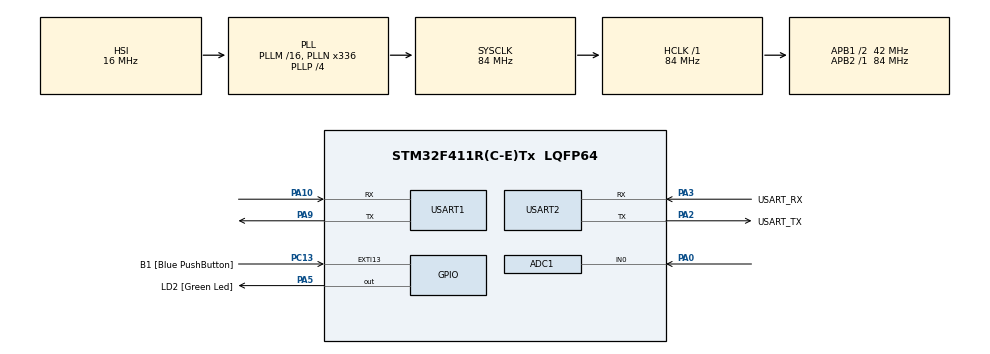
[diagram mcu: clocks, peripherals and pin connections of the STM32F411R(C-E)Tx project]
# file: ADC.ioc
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ADC1.Channel-0\#ChannelRegularConversion=ADC_CHANNEL_0
ADC1.ExternalTrigConv=ADC_EXTERNALTRIGCONV_T3_TRGO
ADC1.InjNumberOfConversion=0
ADC1.NbrOfConversion=1
ADC1.NbrOfConversionFlag=1
ADC1.Rank-0\#ChannelRegularConversion=1
ADC1.SamplingTime-0\#ChannelRegularConversion=ADC_SAMPLETIME_84CYCLES
ADC1.master=1
Mcu.Family=STM32F4
Mcu.Name=STM32F411R(C-E)Tx
Mcu.Package=LQFP64
NVIC.ADC_IRQn=true\:0\:0\:false\:false\:true\:true\:true\:true
NVIC.PriorityGroup=NVIC_PRIORITYGROUP_0
NVIC.USART1_IRQn=true\:0\:0\:false\:false\:true\:true\:true\:true
PA0-WKUP.Signal=ADCx_IN0
PA10.Mode=Asynchronous
PA10.Signal=USART1_RX
PA13.GPIO_Label=TMS
PA13.Mode=Serial_Wire
PA13.Signal=SYS_JTMS-SWDIO
PA14.GPIO_Label=TCK
PA14.Mode=Serial_Wire
PA14.Signal=SYS_JTCK-SWCLK
PA2.GPIO_Label=USART_TX
PA2.Mode=Asynchronous
PA2.Signal=USART2_TX
PA3.GPIO_Label=USART_RX
PA3.Mode=Asynchronous
PA3.Signal=USART2_RX
PA5.GPIO_Label=LD2 [Green Led]
PA5.Signal=GPIO_Output
PA9.Mode=Asynchronous
PA9.Signal=USART1_TX
PB3.GPIO_Label=SWO
PB3.Signal=SYS_JTDO-SWO
PC13-ANTI_TAMP.GPIO_Label=B1 [Blue PushButton]
PC13-ANTI_TAMP.GPIO_ModeDefaultEXTI=GPIO_MODE_IT_FALLING
PC13-ANTI_TAMP.Signal=GPXTI13
PC14-OSC32_IN.Mode=LSE-External-Oscillator
PC14-OSC32_IN.Signal=RCC_OSC32_IN
PC15-OSC32_OUT.Mode=LSE-External-Oscillator
PC15-OSC32_OUT.Signal=RCC_OSC32_OUT
PH0\ -\ OSC_IN.Mode=HSE-External-Clock-Source
PH0\ -\ OSC_IN.Signal=RCC_OSC_IN
PH1\ -\ OSC_OUT.Mode=HSE-External-Clock-Source
PH1\ -\ OSC_OUT.Signal=RCC_OSC_OUT
ProjectManager.HeapSize=0x200
ProjectManager.StackSize=0x400
ProjectManager.TargetToolchain=STM32CubeIDE
RCC.48MHZClocksFreq_Value=84000000
RCC.AHBFreq_Value=84000000
RCC.APB1CLKDivider=RCC_HCLK_DIV2
RCC.APB1Freq_Value=42000000
RCC.APB1TimFreq_Value=84000000
RCC.APB2Freq_Value=84000000
RCC.APB2TimFreq_Value=84000000
RCC.CortexFreq_Value=84000000
RCC.FLatency-AdvancedSettings=FLASH_LATENCY_2
RCC.HCLKFreq_Value=84000000
RCC.HSE_VALUE=8000000
RCC.HSI_VALUE=16000000
RCC.PLLN=336
RCC.PLLP=RCC_PLLP_DIV4
RCC.SYSCLKFreq_VALUE=84000000
RCC.SYSCLKSource=RCC_SYSCLKSOURCE_PLLCLK
RCC.VCOOutputFreq_Value=336000000
SH.ADCx_IN0.0=ADC1_IN0,IN0
TIM3.Period=10000-1
TIM3.Prescaler=8200-1
TIM3.TIM_MasterOutputTrigger=TIM_TRGO_UPDATE
USART1.VirtualMode=VM_ASYNC
USART2.VirtualMode=VM_ASYNC
VP_TIM3_VS_ClockSourceINT.Mode=Internal
board=NUCLEO-F411RE

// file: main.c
/* USER CODE BEGIN Header */
/**
  ******************************************************************************
  * @file           : main.c
  * @brief          : Main program body
  ******************************************************************************
  * @attention
  *
  * Copyright (c) 2023 STMicroelectronics.
  * All rights reserved.
  *
  * This software is licensed under terms that can be found in the LICENSE file
  * in the root directory of this software component.
  * If no LICENSE file comes with this software, it is provided AS-IS.
  *
  ******************************************************************************
  */
/* USER CODE END Header */
#include "main.h"

/* USER CODE BEGIN Includes */
#include <math.h>
#include <string.h>
/* USER CODE END Includes */

/* USER CODE BEGIN PM */
#define PHT_UP_R 10000.0F
#define PHT_10LX_R 50000.0F
#define PHT_GAMMA 0.8F
/* USER CODE END PM */

ADC_HandleTypeDef hadc1;

TIM_HandleTypeDef htim3;

UART_HandleTypeDef huart1;
UART_HandleTypeDef huart2;

void SystemClock_Config(void);
static void MX_GPIO_Init(void);
static void MX_USART2_UART_Init(void);
static void MX_ADC1_Init(void);
static void MX_TIM3_Init(void);
static void MX_USART1_UART_Init(void);

/* USER CODE BEGIN 0 */
uint32_t adc_raw;
uint32_t Pht_R;
float Pht_Div;
float Pht_Temp;
uint32_t Pht_Lux;
uint8_t arr[4];
uint8_t i = 0;
/* USER CODE END 0 */

int main(void)
{

  /* MCU Configuration--------------------------------------------------------*/

  /* Reset of all peripherals, Initializes the Flash interface and the Systick. */
  HAL_Init();

  /* Configure the system clock */
  SystemClock_Config();

  /* Initialize all configured peripherals */
  MX_GPIO_Init();
  MX_USART2_UART_Init();
  MX_ADC1_Init();
  MX_TIM3_Init();
  MX_USART1_UART_Init();
  /* USER CODE BEGIN 2 */
  HAL_ADC_Start_IT(&hadc1);
  HAL_TIM_Base_Start(&htim3);
  for (i = 0; i < 4; i++) {
	arr[i]=i;
}
  /* USER CODE END 2 */

  /* Infinite loop */
  /* USER CODE BEGIN WHILE */
  while (1)
  {
	  if(adc_raw>=1000){
		  HAL_GPIO_WritePin(LD2_GPIO_Port, LD2_Pin, GPIO_PIN_SET);
	  }
	  else{
		  HAL_GPIO_WritePin(LD2_GPIO_Port, LD2_Pin, GPIO_PIN_RESET);
	  	  }
	  //calc photoresistor resistance
	  Pht_R = ((PHT_UP_R)/(4095.0/adc_raw-1));
	  /* internim calcs */
	  Pht_Div = PHT_10LX_R/Pht_R;
	  Pht_Temp = ((0.42*log(Pht_Div))/(PHT_GAMMA)) + 1;
	  /* illuminance calc */
	  Pht_Lux = pow(10, Pht_Temp);

	  memcpy(arr, &Pht_Lux, sizeof(Pht_Lux));

	  //send to esp32
	  HAL_UART_Transmit(&huart1, (uint8_t*)arr,4,1000);
	  HAL_Delay(1000);
    /* USER CODE END WHILE */

  }
}

void SystemClock_Config(void)
{
  RCC_OscInitTypeDef RCC_OscInitStruct = {0};
  RCC_ClkInitTypeDef RCC_ClkInitStruct = {0};

  /** Configure the main internal regulator output voltage
  */
  __HAL_RCC_PWR_CLK_ENABLE();
  __HAL_PWR_VOLTAGESCALING_CONFIG(PWR_REGULATOR_VOLTAGE_SCALE1);

  /** Initializes the RCC Oscillators according to the specified parameters
  * in the RCC_OscInitTypeDef structure.
  */
  RCC_OscInitStruct.OscillatorType = RCC_OSCILLATORTYPE_HSI;
  RCC_OscInitStruct.HSIState = RCC_HSI_ON;
  RCC_OscInitStruct.HSICalibrationValue = RCC_HSICALIBRATION_DEFAULT;
  RCC_OscInitStruct.PLL.PLLState = RCC_PLL_ON;
  RCC_OscInitStruct.PLL.PLLSource = RCC_PLLSOURCE_HSI;
  RCC_OscInitStruct.PLL.PLLM = 16;
  RCC_OscInitStruct.PLL.PLLN = 336;
  RCC_OscInitStruct.PLL.PLLP = RCC_PLLP_DIV4;
  RCC_OscInitStruct.PLL.PLLQ = 4;
  if (HAL_RCC_OscConfig(&RCC_OscInitStruct) != HAL_OK)
  {
    Error_Handler();
  }

  /** Initializes the CPU, AHB and APB buses clocks
  */
  RCC_ClkInitStruct.ClockType = RCC_CLOCKTYPE_HCLK|RCC_CLOCKTYPE_SYSCLK
                              |RCC_CLOCKTYPE_PCLK1|RCC_CLOCKTYPE_PCLK2;
  RCC_ClkInitStruct.SYSCLKSource = RCC_SYSCLKSOURCE_PLLCLK;
  RCC_ClkInitStruct.AHBCLKDivider = RCC_SYSCLK_DIV1;
  RCC_ClkInitStruct.APB1CLKDivider = RCC_HCLK_DIV2;
  RCC_ClkInitStruct.APB2CLKDivider = RCC_HCLK_DIV1;

  if (HAL_RCC_ClockConfig(&RCC_ClkInitStruct, FLASH_LATENCY_2) != HAL_OK)
  {
    Error_Handler();
  }
}

static void MX_ADC1_Init(void)
{

  ADC_ChannelConfTypeDef sConfig = {0};

  /** Configure the global features of the ADC (Clock, Resolution, Data Alignment and number of conversion)
  */
  hadc1.Instance = ADC1;
  hadc1.Init.ClockPrescaler = ADC_CLOCK_SYNC_PCLK_DIV4;
  hadc1.Init.Resolution = ADC_RESOLUTION_12B;
  hadc1.Init.ScanConvMode = DISABLE;
  hadc1.Init.ContinuousConvMode = DISABLE;
  hadc1.Init.DiscontinuousConvMode = DISABLE;
  hadc1.Init.ExternalTrigConvEdge = ADC_EXTERNALTRIGCONVEDGE_RISING;
  hadc1.Init.ExternalTrigConv = ADC_EXTERNALTRIGCONV_T3_TRGO;
  hadc1.Init.DataAlign = ADC_DATAALIGN_RIGHT;
  hadc1.Init.NbrOfConversion = 1;
  hadc1.Init.DMAContinuousRequests = DISABLE;
  hadc1.Init.EOCSelection = ADC_EOC_SINGLE_CONV;
  if (HAL_ADC_Init(&hadc1) != HAL_OK)
  {
    Error_Handler();
  }

  /** Configure for the selected ADC regular channel its corresponding rank in the sequencer and its sample time.
  */
  sConfig.Channel = ADC_CHANNEL_0;
  sConfig.Rank = 1;
  sConfig.SamplingTime = ADC_SAMPLETIME_84CYCLES;
  if (HAL_ADC_ConfigChannel(&hadc1, &sConfig) != HAL_OK)
  {
    Error_Handler();
  }

}

static void MX_TIM3_Init(void)
{

  TIM_ClockConfigTypeDef sClockSourceConfig = {0};
  TIM_MasterConfigTypeDef sMasterConfig = {0};

  htim3.Instance = TIM3;
  htim3.Init.Prescaler = 8200-1;
  htim3.Init.CounterMode = TIM_COUNTERMODE_UP;
  htim3.Init.Period = 10000-1;
  htim3.Init.ClockDivision = TIM_CLOCKDIVISION_DIV1;
  htim3.Init.AutoReloadPreload = TIM_AUTORELOAD_PRELOAD_DISABLE;
  if (HAL_TIM_Base_Init(&htim3) != HAL_OK)
  {
    Error_Handler();
  }
  sClockSourceConfig.ClockSource = TIM_CLOCKSOURCE_INTERNAL;
  if (HAL_TIM_ConfigClockSource(&htim3, &sClockSourceConfig) != HAL_OK)
  {
    Error_Handler();
  }
  sMasterConfig.MasterOutputTrigger = TIM_TRGO_UPDATE;
  sMasterConfig.MasterSlaveMode = TIM_MASTERSLAVEMODE_DISABLE;
  if (HAL_TIMEx_MasterConfigSynchronization(&htim3, &sMasterConfig) != HAL_OK)
  {
    Error_Handler();
  }

}

static void MX_USART1_UART_Init(void)
{

  huart1.Instance = USART1;
  huart1.Init.BaudRate = 115200;
  huart1.Init.WordLength = UART_WORDLENGTH_8B;
  huart1.Init.StopBits = UART_STOPBITS_1;
  huart1.Init.Parity = UART_PARITY_NONE;
  huart1.Init.Mode = UART_MODE_TX_RX;
  huart1.Init.HwFlowCtl = UART_HWCONTROL_NONE;
  huart1.Init.OverSampling = UART_OVERSAMPLING_16;
  if (HAL_UART_Init(&huart1) != HAL_OK)
  {
    Error_Handler();
  }

}

static void MX_USART2_UART_Init(void)
{

  huart2.Instance = USART2;
  huart2.Init.BaudRate = 115200;
  huart2.Init.WordLength = UART_WORDLENGTH_8B;
  huart2.Init.StopBits = UART_STOPBITS_1;
  huart2.Init.Parity = UART_PARITY_NONE;
  huart2.Init.Mode = UART_MODE_TX_RX;
  huart2.Init.HwFlowCtl = UART_HWCONTROL_NONE;
  huart2.Init.OverSampling = UART_OVERSAMPLING_16;
  if (HAL_UART_Init(&huart2) != HAL_OK)
  {
    Error_Handler();
  }

}

static void MX_GPIO_Init(void)
{
  GPIO_InitTypeDef GPIO_InitStruct = {0};

  /* GPIO Ports Clock Enable */
  __HAL_RCC_GPIOC_CLK_ENABLE();
  __HAL_RCC_GPIOH_CLK_ENABLE();
  __HAL_RCC_GPIOA_CLK_ENABLE();
  __HAL_RCC_GPIOB_CLK_ENABLE();

  /*Configure GPIO pin Output Level */
  HAL_GPIO_WritePin(LD2_GPIO_Port, LD2_Pin, GPIO_PIN_RESET);

  /*Configure GPIO pin : B1_Pin */
  GPIO_InitStruct.Pin = B1_Pin;
  GPIO_InitStruct.Mode = GPIO_MODE_IT_FALLING;
  GPIO_InitStruct.Pull = GPIO_NOPULL;
  HAL_GPIO_Init(B1_GPIO_Port, &GPIO_InitStruct);

  /*Configure GPIO pin : LD2_Pin */
  GPIO_InitStruct.Pin = LD2_Pin;
  GPIO_InitStruct.Mode = GPIO_MODE_OUTPUT_PP;
  GPIO_InitStruct.Pull = GPIO_NOPULL;
  GPIO_InitStruct.Speed = GPIO_SPEED_FREQ_LOW;
  HAL_GPIO_Init(LD2_GPIO_Port, &GPIO_InitStruct);

}

/* USER CODE BEGIN 4 */
void HAL_ADC_ConvCpltCallback(ADC_HandleTypeDef* hadc)
{
  adc_raw=HAL_ADC_GetValue(&hadc1);
}
/*
void send_uint32(uint32_t v)
{
    uint8_t transmitBuffer[4];
    memcpy(transmitBuffer, &v, sizeof(v));
    HAL_UART_Transmit_IT(&huart1, transmitBuffer, sizeof(v));
}
*/
/* USER CODE END 4 */

void Error_Handler(void)
{
  __disable_irq();
  while (1)
  {
  }
}
